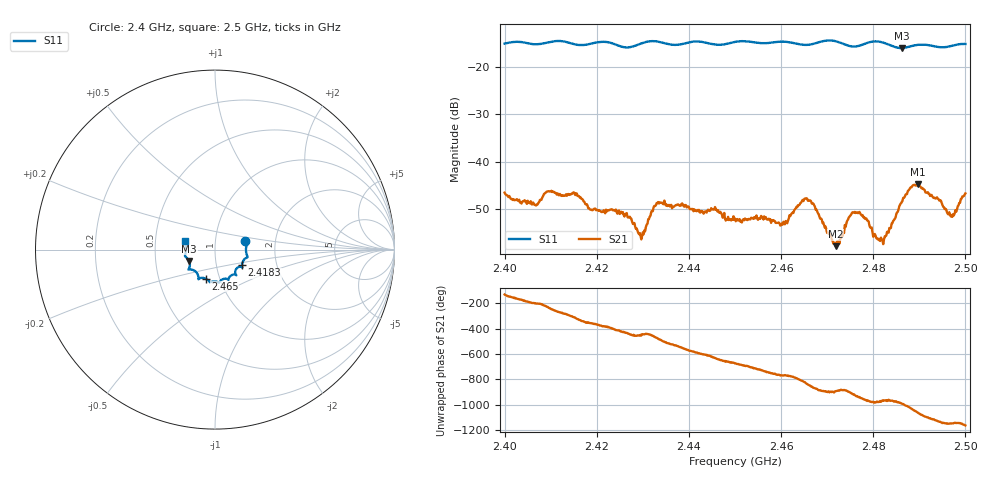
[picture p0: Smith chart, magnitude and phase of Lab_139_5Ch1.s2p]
# Hz S RI R 50
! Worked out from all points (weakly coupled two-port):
!   601 points, 2.4 GHz to 2.5 GHz, reference 50 ohm
!   highest |S21| = -44.71 dB at 2.4897 GHz (marker M1); lowest = -57.8 dB at 2.4718 GHz (marker M2)
!   lowest |S11| = -16.1 dB at 2.4862 GHz (marker M3), VSWR 1.37, Z = 37.1 - j4.8 ohm
!   |S11| at or under -10 dB: start of sweep to end of sweep
!   S12 and S22 are empty: the file has one direction only
!   S11 on the Smith chart (normalised r, x): 2.4 GHz: 1.40, +0.13; 2.4183 GHz: 1.33, -0.24; 2.465 GHz: 0.86, -0.29; 2.5 GHz: 0.71, +0.07
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2.4e9  0.1693 0.0458  -0.00315 -0.00354  0 0  0 0
2.4065e9  0.1726 0.00311  -0.00329 0.00126  0 0  0 0
2.409667e9  0.1783 -0.0327  -0.00264 0.00413  0 0  0 0
2.416667e9  0.1547 -0.068  0.00384 0.00138  0 0  0 0
2.418333e9  0.15 -0.087  0.00323 0.000207  0 0  0 0
2.426e9  0.1252 -0.1004  0.000889 -0.0025  0 0  0 0
2.429667e9  0.1131 -0.1347  -0.000134 -0.00152  0 0  0 0
2.433333e9  0.1177 -0.141  -0.00199 -0.0032  0 0  0 0
2.445333e9  0.0595 -0.1617  -0.000104 0.00313  0 0  0 0
2.45e9  0.0251 -0.1808  0.0018 0.00178  0 0  0 0
2.460333e9  -0.0285 -0.1816  0.00142 -0.00166  0 0  0 0
2.465e9  -0.0524 -0.1617  -0.000828 -0.00396  0 0  0 0
2.466667e9  -0.0713 -0.1572  -0.00272 -0.00241  0 0  0 0
2.471833e9  -0.0913 -0.1618  -0.00129 -0.000123  0 0  0 0
2.475833e9  -0.1085 -0.1217  -0.00275 0.000964  0 0  0 0
2.4785e9  -0.1381 -0.1108  -0.00103 0.00232  0 0  0 0
2.481e9  -0.148 -0.1102  -0.000233 0.0015  0 0  0 0
2.483333e9  -0.1414 -0.0965  -0.000832 0.00159  0 0  0 0
2.486167e9  -0.1441 -0.063  0.000119 0.00374  0 0  0 0
2.489667e9  -0.1655 -0.0386  0.00561 0.00153  0 0  0 0
2.496667e9  -0.1624 0.0243  0.000959 -0.00258  0 0  0 0
2.5e9  -0.1672 0.0468  0.000392 -0.00463  0 0  0 0
